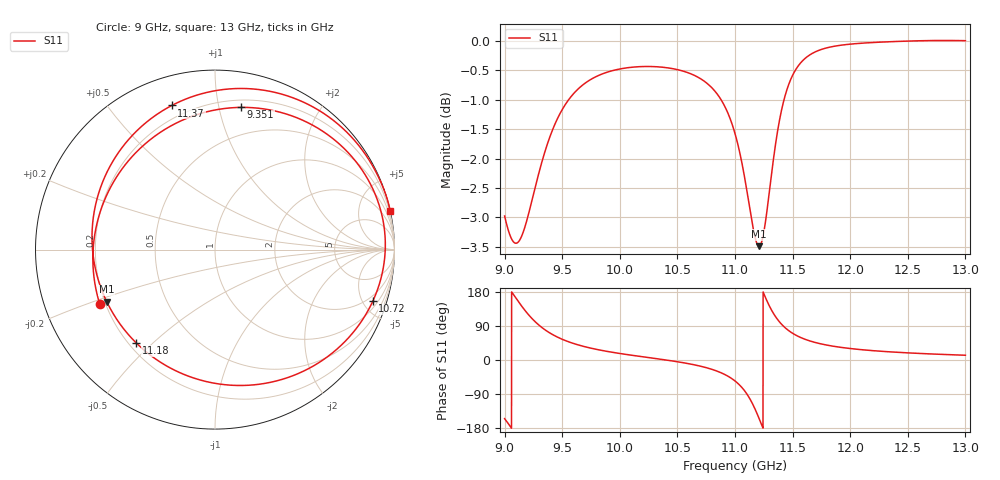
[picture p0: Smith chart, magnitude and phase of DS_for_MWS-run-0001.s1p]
! TOUCHSTONE file generated by CST DESIGN STUDIO
! Date and time: Tue Jan 28 13:35:02 2025
! Project name: C:\Work\MatlabApps\UnitCellOptimizationMatlabNew\CST\unitcell.cst
! Tree item: Tasks\Sweep1\SPara1\S-Parameters
! Header version: 2024
! Port assignment regex: !\s*Touchstone port\s*([0-9]+)\s*=\s*(CST MWS port|CST DES external port|CST DES block port)\s*(.+)\s* \(\"(.*)\"\)(\s*mode\s*([0-9]+))?.*
! Touchstone port assignment:
! Touchstone port 1 = CST DES external port 1 ("")
# GHz S MA R 50
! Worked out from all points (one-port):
!   4001 points, 9 GHz to 13 GHz, reference 50 ohm
!   lowest |S11| = -3.5 dB at 11.21 GHz (marker M1), VSWR 5.05, Z = 10.4 - j10.9 ohm
!   |S11| at or under -10 dB: nowhere
!   S11 on the Smith chart (normalised r, x): 9 GHz: 0.18, -0.22; 9.351 GHz: 0.26, +1.17; 10.72 GHz: 1.48, -5.89; 11.18 GHz: 0.23, -0.45; 11.37 GHz: 0.14, +0.74; 13 GHz: 0.01, +9.08
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9  0.71 -154.8
9.092  0.6734 166.1
9.193  0.704 124.8
9.267  0.7518 100.5
9.351  0.8056 79.6
9.5  0.8739 54.7
9.709  0.9217 34.1
10  0.946 17.2
10.5  0.9448 -4.6
10.725  0.9249 -18.2
10.885  0.8889 -34.5
11  0.834 -55.3
11.051  0.7954 -69.6
11.102  0.7471 -89.2
11.14  0.7089 -108.4
11.175  0.6804 -130.1
11.209  0.6694 -154.3
11.243  0.6822 -179.7
11.277  0.7165 156.2
11.324  0.7801 127.9
11.37  0.8384 106.7
11.426  0.8913 87.7
11.5  0.9343 70.5
11.586  0.9611 57.3
11.691  0.9775 46.7
12  0.993 30.3
12.5  0.9989 18.8
13  0.9997 12.6
